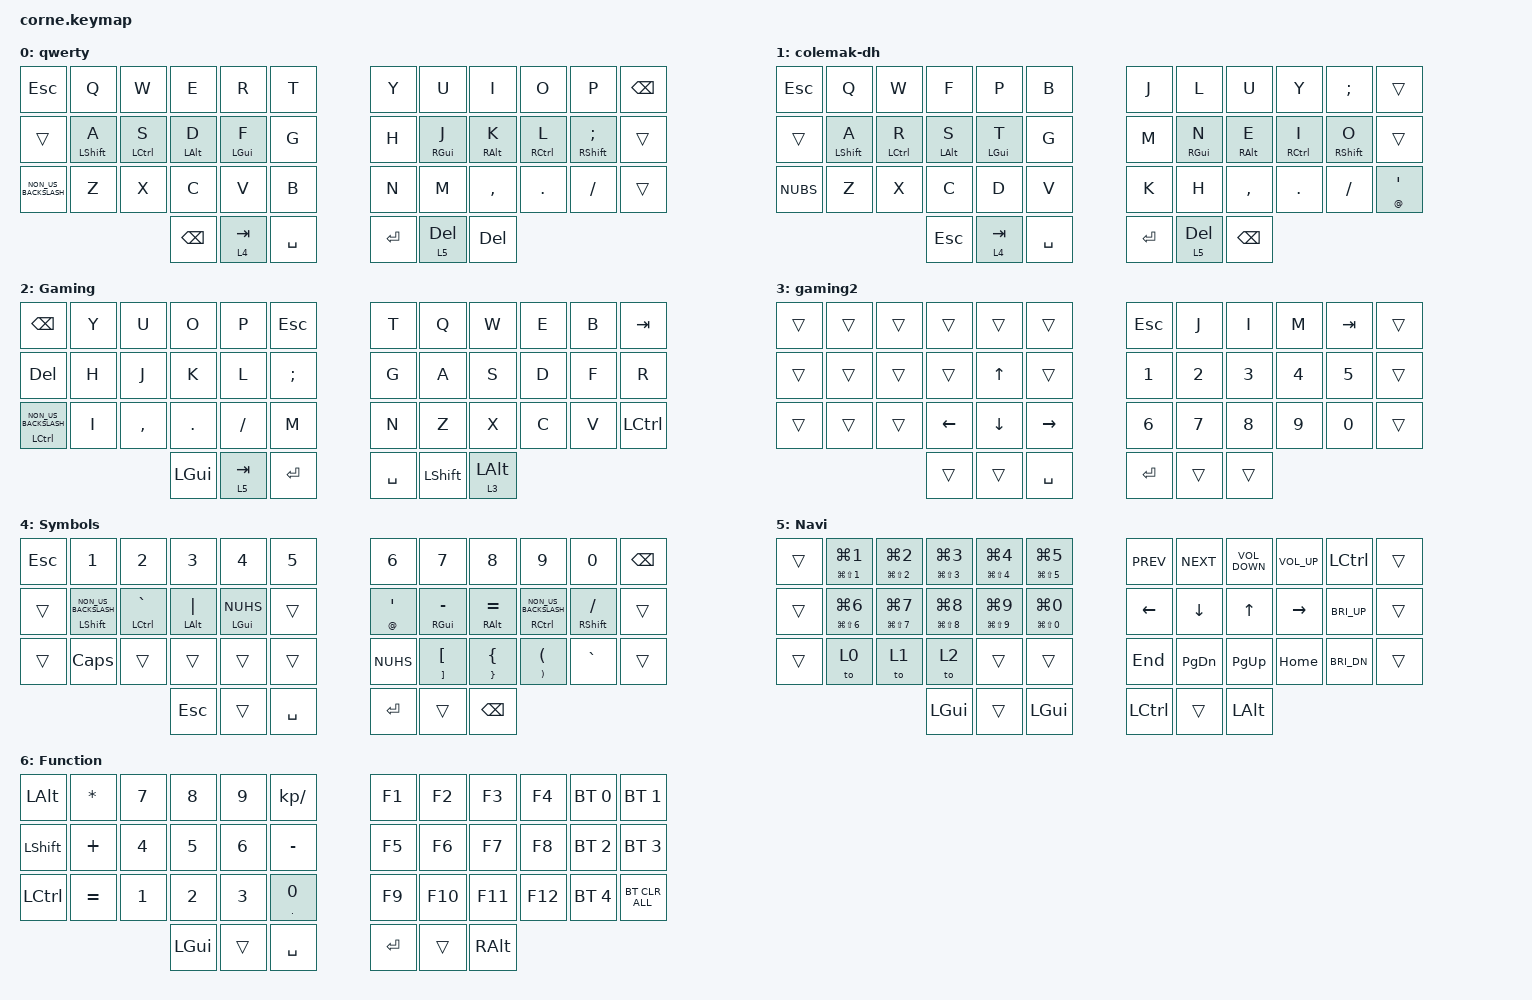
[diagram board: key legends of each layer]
/*
 * Copyright (c) 2020 The ZMK Contributors
 *
 * SPDX-License-Identifier: MIT
 */

#include <behaviors.dtsi>
#include <dt-bindings/zmk/bt.h>
#include <dt-bindings/zmk/keys.h>

/ {
    combos {
        compatible = "zmk,combos";

        vmute {
            bindings = <&kp C_MUTE>;
            key-positions = <9 8>;
            layers = <5>;
        };

        play_pause {
            bindings = <&kp C_PLAY_PAUSE>;
            key-positions = <6 7>;
            layers = <5>;
        };

        maxbright {
            bindings = <&kp C_BRIGHTNESS_MAXIMUM>;
            key-positions = <34 22>;
            layers = <5>;
        };
    };

    behaviors {
        HMR: HMR {
            compatible = "zmk,behavior-hold-tap";
            label = "HMR";
            bindings = <&kp>, <&kp>;

            #binding-cells = <2>;
            tapping-term-ms = <300>;
            quick-tap-ms = <280>;
            flavor = "tap-preferred";
            hold-trigger-key-positions = <0 12 24 25 13 1 2 14 26 27 15 3 4 16 17 5 29 28 36 37 38 39 40 41>;
            hold-trigger-on-release;
        };

        HML: HML {
            compatible = "zmk,behavior-hold-tap";
            label = "HML";
            bindings = <&kp>, <&kp>;

            #binding-cells = <2>;
            tapping-term-ms = <300>;
            quick-tap-ms = <280>;
            flavor = "tap-preferred";
            hold-trigger-key-positions = <36 37 38 39 40 41 6 7 8 9 10 11 18 19 20 21 6 7 8 9 10 11 18 19 20 21 22 23 30 31 32 33 34 35 39 40 41>;
            hold-trigger-on-release;
            require-prior-idle-ms = <0>;
        };

        HMShiftR: HMShiftR {
            compatible = "zmk,behavior-hold-tap";
            label = "HMSHIFTR";
            bindings = <&kp>, <&kp>;

            #binding-cells = <2>;
            tapping-term-ms = <200>;
            hold-trigger-on-release;
            hold-trigger-key-positions = <0 1 2 3 4 5 12 13 14 15 16 17 24 25 26 27 28 29 36 37 38>;
            quick-tap-ms = <175>;
            flavor = "balanced";
        };

        HMShiftL: HMShiftL {
            compatible = "zmk,behavior-hold-tap";
            label = "HMSHIFTL";
            bindings = <&kp>, <&kp>;

            #binding-cells = <2>;
            tapping-term-ms = <200>;
            hold-trigger-on-release;
            hold-trigger-key-positions = <6 10 11 18 19 20 21 22 23 30 31 32 33 34 35 39 40 41 6 7 8 9 18 19 20 21>;
            quick-tap-ms = <175>;
            flavor = "balanced";
        };
    };

    keymap {
        compatible = "zmk,keymap";

        default_layer {
            // -----------------------------------------------------------------------------------------
            // |  TAB |  Q  |  W  |  E  |  R  |  T  |   |  Y  |  U   |  I  |  O  |  P  | BKSP |
            // | CTRL |  A  |  S  |  D  |  F  |  G  |   |  H  |  J   |  K  |  L  |  ;  |  '   |
            // | SHFT |  Z  |  X  |  C  |  V  |  B  |   |  N  |  M   |  ,  |  .  |  /  | ESC  |
            //                    | GUI | LWR | SPC |   | ENT | RSE  | ALT |

            display-name = "qwerty";
            bindings = <
&kp ESCAPE            &kp Q                   &kp W                &kp E            &kp R            &kp T        &kp Y    &kp U             &kp I             &kp O                 &kp P                       &kp BACKSPACE
&trans                &HMShiftL LEFT_SHIFT A  &HML LEFT_CONTROL S  &HML LEFT_ALT D  &HML LEFT_GUI F  &kp G        &kp H    &HMR RIGHT_GUI J  &HMR RIGHT_ALT K  &HMR RIGHT_CONTROL L  &HMShiftR RIGHT_SHIFT SEMI  &trans
&kp NON_US_BACKSLASH  &kp Z                   &kp X                &kp C            &kp V            &kp B        &kp N    &kp M             &kp COMMA         &kp DOT               &kp FSLH                    &trans
                                                                   &kp BACKSPACE    &lt 4 TAB        &kp SPACE    &kp RET  &lt 5 DELETE      &kp DELETE
            >;
        };

        Colemak-dh_Layer {
            display-name = "colemak-dh";
            bindings = <
&kp ESCAPE  &kp Q              &kp W                &kp F            &kp P            &kp B        &kp J    &kp L             &kp U             &kp Y                 &kp SEMICOLON       &trans
&trans      &HML LEFT_SHIFT A  &HML LEFT_CONTROL R  &HML LEFT_ALT S  &HML LEFT_GUI T  &kp G        &kp M    &HMR RIGHT_GUI N  &HMR RIGHT_ALT E  &HMR RIGHT_CONTROL I  &HMR RIGHT_SHIFT O  &trans
&kp NUBS    &kp Z              &kp X                &kp C            &kp D            &kp V        &kp K    &kp H             &kp COMMA         &kp DOT               &kp FSLH            &HMR AT APOS
                                                    &kp ESCAPE       &lt 4 TAB        &kp SPACE    &kp RET  &lt 5 DELETE      &kp BACKSPACE
            >;
        };

        Gaming_Layer {
            display-name = "Gaming";
            bindings = <
&kp BACKSPACE                       &kp Y  &kp U      &kp O       &kp P      &kp ESCAPE       &kp T      &kp Q      &kp W           &kp E  &kp B  &kp TAB
&kp DELETE                          &kp H  &kp J      &kp K       &kp L      &kp SEMICOLON    &kp G      &kp A      &kp S           &kp D  &kp F  &kp R
&HML LEFT_CONTROL NON_US_BACKSLASH  &kp I  &kp COMMA  &kp PERIOD  &kp SLASH  &kp M            &kp N      &kp Z      &kp X           &kp C  &kp V  &kp LEFT_CONTROL
                                                      &kp LGUI    &lt 5 TAB  &kp ENTER        &kp SPACE  &kp LSHFT  &lt 3 LEFT_ALT
            >;
        };

        Gaming_Layer2 {
            bindings = <
&trans  &trans  &trans  &trans          &trans          &trans             &kp ESCAPE    &kp J         &kp I         &kp M         &kp TAB       &trans
&trans  &trans  &trans  &trans          &kp UP_ARROW    &trans             &kp NUMBER_1  &kp NUMBER_2  &kp NUMBER_3  &kp NUMBER_4  &kp NUMBER_5  &trans
&trans  &trans  &trans  &kp LEFT_ARROW  &kp DOWN_ARROW  &kp RIGHT_ARROW    &kp NUMBER_6  &kp NUMBER_7  &kp NUMBER_8  &kp NUMBER_9  &kp N0        &trans
                        &trans          &trans          &kp SPACE          &kp RET       &trans        &trans
            >;

            label = "gaming2";
        };

        lower_layer {
            // -----------------------------------------------------------------------------------------
            // |  TAB |  !  |  @  |  #  |  $  |  %  |   |  ^  |  &  |  *  |  (  |  )  | BKSP |
            // | CTRL |     |     |     |     |     |   |  -  |  =  |  [  |  ]  |  \  |  `   |
            // | SHFT |     |     |     |     |     |   |  _  |  +  |  {  |  }  | "|" |  ~   |
            //                    | GUI |     | SPC |   | ENT |     | ALT |

            display-name = "Symbols";
            bindings = <
&kp ESCAPE  &kp NUMBER_1                      &kp NUMBER_2             &kp NUMBER_3        &kp NUMBER_4        &kp NUMBER_5    &kp NUMBER_6  &kp NUMBER_7                     &kp NUMBER_8                 &kp NUMBER_9                             &kp NUMBER_0            &kp BACKSPACE
&trans      &HML LEFT_SHIFT NON_US_BACKSLASH  &HML LEFT_CONTROL GRAVE  &HML LEFT_ALT PIPE  &HML LEFT_GUI NUHS  &trans          &HMR AT SQT   &HMR RIGHT_GUI MINUS             &HMR RIGHT_ALT EQUAL         &HMR RIGHT_CONTROL NON_US_BACKSLASH      &HMR RIGHT_SHIFT SLASH  &trans
&trans      &kp CAPS                          &trans                   &trans              &trans              &trans          &kp NUHS      &HMR RIGHT_BRACKET LEFT_BRACKET  &HMR RIGHT_BRACE LEFT_BRACE  &HMR RIGHT_PARENTHESIS LEFT_PARENTHESIS  &kp GRAVE               &trans
                                                                       &kp ESCAPE          &trans              &kp SPACE       &kp RET       &trans                           &kp BACKSPACE
            >;
        };

        raise_layer {
            // -----------------------------------------------------------------------------------------
            // |  TAB |  1  |  2  |  3  |  4  |  5  |   |  6  |  7  |  8  |  9  |  0  | BKSP |
            // | BTCLR| BT1 | BT2 | BT3 | BT4 | BT5 |   | LFT | DWN |  UP | RGT |     |      |
            // | SHFT |     |     |     |     |     |   |     |     |     |     |     |      |
            //                    | GUI |     | SPC |   | ENT |     | ALT |

            display-name = "Navi";
            bindings = <
&trans  &HML LG(LS(NUMBER_1)) LG(NUMBER_1)  &HML LG(LS(NUMBER_2)) LG(NUMBER_2)  &HML LG(LS(NUMBER_3)) LG(NUMBER_3)  &HML LG(LS(NUMBER_4)) LG(NUMBER_4)  &HML LG(LS(NUMBER_5)) LG(NUMBER_5)    &kp C_PREV        &kp C_NEXT     &kp C_VOLUME_DOWN  &kp C_VOLUME_UP  &kp LEFT_CONTROL  &trans
&trans  &HML LG(LS(NUMBER_6)) LG(NUMBER_6)  &HML LG(LS(NUMBER_7)) LG(NUMBER_7)  &HML LG(LS(NUMBER_8)) LG(NUMBER_8)  &HML LG(LS(NUMBER_9)) LG(NUMBER_9)  &HML LG(LS(NUMBER_0)) LG(NUMBER_0)    &kp LEFT          &kp DOWN       &kp UP             &kp RIGHT        &kp C_BRI_UP      &trans
&trans  &to 0                               &to 1                               &to 2                               &trans                              &trans                                &kp END           &kp PAGE_DOWN  &kp PAGE_UP        &kp HOME         &kp C_BRI_DN      &trans
                                                                                &kp LEFT_GUI                        &trans                              &kp LEFT_GUI                          &kp LEFT_CONTROL  &trans         &kp LEFT_ALT
            >;
        };

        tri_layer {
            display-name = "Function";
            bindings = <
&kp LEFT_ALT      &kp STAR   &kp NUMBER_7  &kp NUMBER_8  &kp NUMBER_9  &kp KP_DIVIDE        &kp F1   &kp F2   &kp F3    &kp F4   &bt BT_SEL 0  &bt BT_SEL 1
&kp LEFT_SHIFT    &kp PLUS   &kp NUMBER_4  &kp NUMBER_5  &kp NUMBER_6  &kp MINUS            &kp F5   &kp F6   &kp F7    &kp F8   &bt BT_SEL 2  &bt BT_SEL 3
&kp LEFT_CONTROL  &kp EQUAL  &kp NUMBER_1  &kp NUMBER_2  &kp NUMBER_3  &HML DOT NUMBER_0    &kp F9   &kp F10  &kp F11   &kp F12  &bt BT_SEL 4  &bt BT_CLR_ALL
                                           &kp LGUI      &trans        &kp SPACE            &kp RET  &trans   &kp RALT
            >;
        };
    };

    conditional_layers {
        compatible = "zmk,conditional-layers";

        tri_layer {
            if-layers = <4 5>;
            then-layer = <6>;
        };
    };
};
